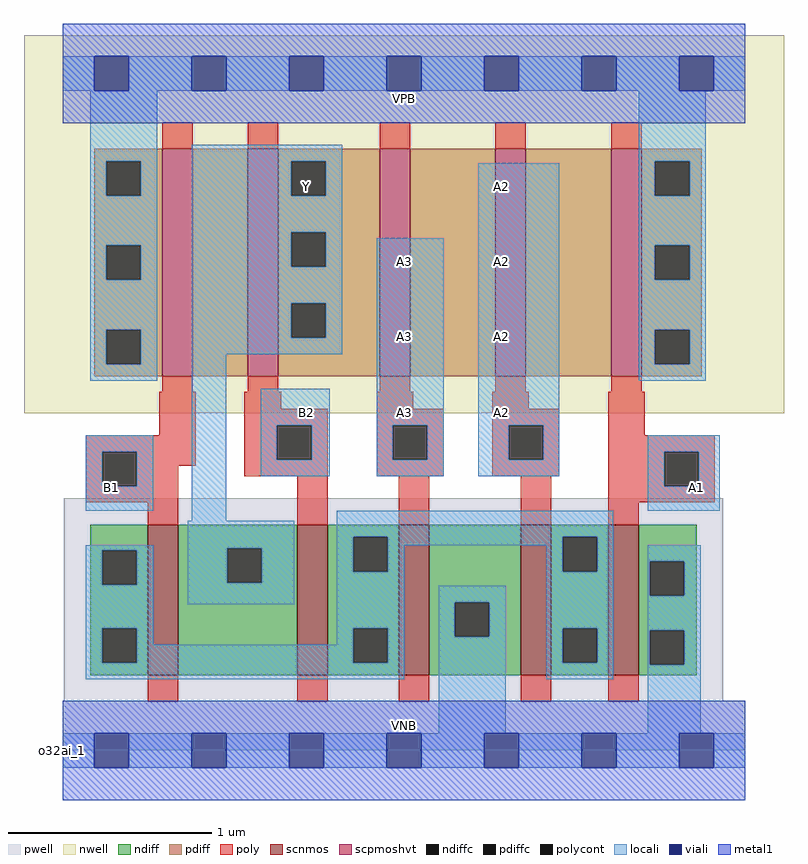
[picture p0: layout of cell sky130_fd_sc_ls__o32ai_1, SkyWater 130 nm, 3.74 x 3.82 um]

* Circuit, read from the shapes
.subckt sky130_fd_sc_ls__o32ai_1 A1 A2 A3 B1 B2 VGND VNB VPB VPWR Y
XM1 Y B1 n1 VNB sky130_fd_pr__nfet_01v8 w=0.74 l=0.15
XM2 n1 B2 Y VNB sky130_fd_pr__nfet_01v8 w=0.74 l=0.15
XM3 VGND A3 n1 VNB sky130_fd_pr__nfet_01v8 w=0.74 l=0.15
XM4 n1 A2 VGND VNB sky130_fd_pr__nfet_01v8 w=0.74 l=0.15
XM5 VGND A1 n1 VNB sky130_fd_pr__nfet_01v8 w=0.74 l=0.15
XM6 n2 B1 VPWR VPB sky130_fd_pr__pfet_01v8_hvt w=1.12 l=0.15
XM7 Y B2 n2 VPB sky130_fd_pr__pfet_01v8_hvt w=1.12 l=0.15
XM8 n3 A3 Y VPB sky130_fd_pr__pfet_01v8_hvt w=1.12 l=0.15
XM9 n4 A2 n3 VPB sky130_fd_pr__pfet_01v8_hvt w=1.12 l=0.15
XM10 VPWR A1 n4 VPB sky130_fd_pr__pfet_01v8_hvt w=1.12 l=0.15
.ends

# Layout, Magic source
magic
tech sky130A
magscale 1 2
<< nwell >>
rect -38 332 710 704
<< pwell >>
rect 1 49 650 248
rect 0 0 672 49
<< scnmos >>
rect 84 74 114 222
rect 231 74 261 222
rect 331 74 361 222
rect 451 74 481 222
rect 537 74 567 222
<< scpmoshvt >>
rect 98 368 128 592
rect 182 368 212 592
rect 312 368 342 592
rect 426 368 456 592
rect 540 368 570 592
<< ndiff >>
rect 27 197 84 222
rect 27 163 39 197
rect 73 163 84 197
rect 27 120 84 163
rect 27 86 39 120
rect 73 86 84 120
rect 27 74 84 86
rect 114 199 231 222
rect 114 165 162 199
rect 196 165 231 199
rect 114 74 231 165
rect 261 210 331 222
rect 261 176 286 210
rect 320 176 331 210
rect 261 120 331 176
rect 261 86 286 120
rect 320 86 331 120
rect 261 74 331 86
rect 361 146 451 222
rect 361 112 386 146
rect 420 112 451 146
rect 361 74 451 112
rect 481 210 537 222
rect 481 176 492 210
rect 526 176 537 210
rect 481 120 537 176
rect 481 86 492 120
rect 526 86 537 120
rect 481 74 537 86
rect 567 186 624 222
rect 567 152 578 186
rect 612 152 624 186
rect 567 118 624 152
rect 567 84 578 118
rect 612 84 624 118
rect 567 74 624 84
<< pdiff >>
rect 31 580 98 592
rect 31 546 43 580
rect 77 546 98 580
rect 31 497 98 546
rect 31 463 43 497
rect 77 463 98 497
rect 31 414 98 463
rect 31 380 43 414
rect 77 380 98 414
rect 31 368 98 380
rect 128 368 182 592
rect 212 580 312 592
rect 212 546 225 580
rect 259 546 312 580
rect 212 510 312 546
rect 212 476 225 510
rect 259 476 312 510
rect 212 440 312 476
rect 212 406 225 440
rect 259 406 312 440
rect 212 368 312 406
rect 342 368 426 592
rect 456 368 540 592
rect 570 580 629 592
rect 570 546 583 580
rect 617 546 629 580
rect 570 497 629 546
rect 570 463 583 497
rect 617 463 629 497
rect 570 414 629 463
rect 570 380 583 414
rect 617 380 629 414
rect 570 368 629 380
<< ndiffc >>
rect 39 163 73 197
rect 39 86 73 120
rect 162 165 196 199
rect 286 176 320 210
rect 286 86 320 120
rect 386 112 420 146
rect 492 176 526 210
rect 492 86 526 120
rect 578 152 612 186
rect 578 84 612 118
<< pdiffc >>
rect 43 546 77 580
rect 43 463 77 497
rect 43 380 77 414
rect 225 546 259 580
rect 225 476 259 510
rect 225 406 259 440
rect 583 546 617 580
rect 583 463 617 497
rect 583 380 617 414
<< poly >>
rect 98 592 128 618
rect 182 592 212 618
rect 312 592 342 618
rect 426 592 456 618
rect 540 592 570 618
rect 98 353 128 368
rect 182 353 212 368
rect 312 353 342 368
rect 426 353 456 368
rect 540 353 570 368
rect 95 310 131 353
rect 23 294 131 310
rect 23 260 39 294
rect 73 280 131 294
rect 179 336 215 353
rect 309 336 345 353
rect 423 336 459 353
rect 179 320 261 336
rect 179 286 211 320
rect 245 286 261 320
rect 73 260 114 280
rect 179 270 261 286
rect 309 320 375 336
rect 309 286 325 320
rect 359 286 375 320
rect 309 270 375 286
rect 423 320 489 336
rect 423 286 439 320
rect 473 286 489 320
rect 423 270 489 286
rect 537 310 573 353
rect 537 294 642 310
rect 23 244 114 260
rect 84 222 114 244
rect 231 222 261 270
rect 331 222 361 270
rect 451 222 481 270
rect 537 260 592 294
rect 626 260 642 294
rect 537 244 642 260
rect 537 222 567 244
rect 84 48 114 74
rect 231 48 261 74
rect 331 48 361 74
rect 451 48 481 74
rect 537 48 567 74
<< polycont >>
rect 39 260 73 294
rect 211 286 245 320
rect 325 286 359 320
rect 439 286 473 320
rect 592 260 626 294
<< locali >>
rect 0 649 31 683
rect 65 649 127 683
rect 161 649 223 683
rect 257 649 319 683
rect 353 649 415 683
rect 449 649 511 683
rect 545 649 607 683
rect 641 649 672 683
rect 27 580 93 649
rect 27 546 43 580
rect 77 546 93 580
rect 27 497 93 546
rect 27 463 43 497
rect 77 463 93 497
rect 27 414 93 463
rect 27 380 43 414
rect 77 380 93 414
rect 27 364 93 380
rect 127 580 275 596
rect 127 546 225 580
rect 259 546 275 580
rect 567 580 633 649
rect 127 510 275 546
rect 127 476 225 510
rect 259 476 275 510
rect 127 440 275 476
rect 127 406 225 440
rect 259 406 275 440
rect 127 390 275 406
rect 23 294 89 310
rect 23 260 39 294
rect 73 260 89 294
rect 23 236 89 260
rect 127 226 161 390
rect 195 320 263 356
rect 195 286 211 320
rect 245 286 263 320
rect 195 270 263 286
rect 309 320 375 504
rect 309 286 325 320
rect 359 286 375 320
rect 309 270 375 286
rect 409 320 489 578
rect 567 546 583 580
rect 617 546 633 580
rect 567 497 633 546
rect 567 463 583 497
rect 617 463 633 497
rect 567 414 633 463
rect 567 380 583 414
rect 617 380 633 414
rect 567 364 633 380
rect 409 286 439 320
rect 473 286 489 320
rect 409 270 489 286
rect 576 294 647 310
rect 576 260 592 294
rect 626 260 647 294
rect 576 236 647 260
rect 23 197 89 202
rect 23 163 39 197
rect 73 163 89 197
rect 23 120 89 163
rect 123 199 228 226
rect 123 165 162 199
rect 196 165 228 199
rect 123 144 228 165
rect 270 210 542 236
rect 270 176 286 210
rect 320 202 492 210
rect 320 176 336 202
rect 23 86 39 120
rect 73 104 89 120
rect 270 120 336 176
rect 476 176 492 202
rect 526 176 542 210
rect 270 104 286 120
rect 73 86 286 104
rect 320 86 336 120
rect 23 70 336 86
rect 370 146 436 162
rect 370 112 386 146
rect 420 112 436 146
rect 370 17 436 112
rect 476 120 542 176
rect 476 86 492 120
rect 526 86 542 120
rect 476 70 542 86
rect 576 186 628 202
rect 576 152 578 186
rect 612 152 628 186
rect 576 118 628 152
rect 576 84 578 118
rect 612 84 628 118
rect 576 17 628 84
rect 0 -17 31 17
rect 65 -17 127 17
rect 161 -17 223 17
rect 257 -17 319 17
rect 353 -17 415 17
rect 449 -17 511 17
rect 545 -17 607 17
rect 641 -17 672 17
<< viali >>
rect 31 649 65 683
rect 127 649 161 683
rect 223 649 257 683
rect 319 649 353 683
rect 415 649 449 683
rect 511 649 545 683
rect 607 649 641 683
rect 31 -17 65 17
rect 127 -17 161 17
rect 223 -17 257 17
rect 319 -17 353 17
rect 415 -17 449 17
rect 511 -17 545 17
rect 607 -17 641 17
<< metal1 >>
rect 0 683 672 715
rect 0 649 31 683
rect 65 649 127 683
rect 161 649 223 683
rect 257 649 319 683
rect 353 649 415 683
rect 449 649 511 683
rect 545 649 607 683
rect 641 649 672 683
rect 0 617 672 649
rect 0 17 672 49
rect 0 -17 31 17
rect 65 -17 127 17
rect 161 -17 223 17
rect 257 -17 319 17
rect 353 -17 415 17
rect 449 -17 511 17
rect 545 -17 607 17
rect 641 -17 672 17
rect 0 -49 672 -17
<< labels >>
rlabel comment s 0 0 0 0 4 o32ai_1
flabel pwell s 0 0 672 49 0 FreeSans 200 0 0 0 VNB
port 7 nsew ground bidirectional
flabel nwell s 0 617 672 666 0 FreeSans 200 0 0 0 VPB
port 8 nsew power bidirectional
flabel metal1 s 0 617 672 666 0 FreeSans 340 0 0 0 VPWR
port 9 nsew power bidirectional abutment
flabel metal1 s 0 0 672 49 0 FreeSans 340 0 0 0 VGND
port 6 nsew ground bidirectional abutment
flabel locali s 223 538 257 572 0 FreeSans 340 0 0 0 Y
port 10 nsew signal output
flabel locali s 223 316 257 350 0 FreeSans 340 0 0 0 B2
port 5 nsew signal input
flabel locali s 31 242 65 276 0 FreeSans 340 0 0 0 B1
port 4 nsew signal input
flabel locali s 319 316 353 350 0 FreeSans 340 0 0 0 A3
port 3 nsew signal input
flabel locali s 319 390 353 424 0 FreeSans 340 0 0 0 A3
port 3 nsew signal input
flabel locali s 319 464 353 498 0 FreeSans 340 0 0 0 A3
port 3 nsew signal input
flabel locali s 415 316 449 350 0 FreeSans 340 0 0 0 A2
port 2 nsew signal input
flabel locali s 415 390 449 424 0 FreeSans 340 0 0 0 A2
port 2 nsew signal input
flabel locali s 415 464 449 498 0 FreeSans 340 0 0 0 A2
port 2 nsew signal input
flabel locali s 415 538 449 572 0 FreeSans 340 0 0 0 A2
port 2 nsew signal input
flabel locali s 607 242 641 276 0 FreeSans 340 0 0 0 A1
port 1 nsew signal input
<< properties >>
string LEFsite unit
string LEFclass CORE
string FIXED_BBOX 0 0 672 666
string GDS_FILE $PDKPATH/libs.ref/sky130_fd_sc_ls/gds/sky130_fd_sc_ls.gds
string LEFsymmetry X Y
string GDS_END 1176024
string GDS_START 1169344
<< end >>
